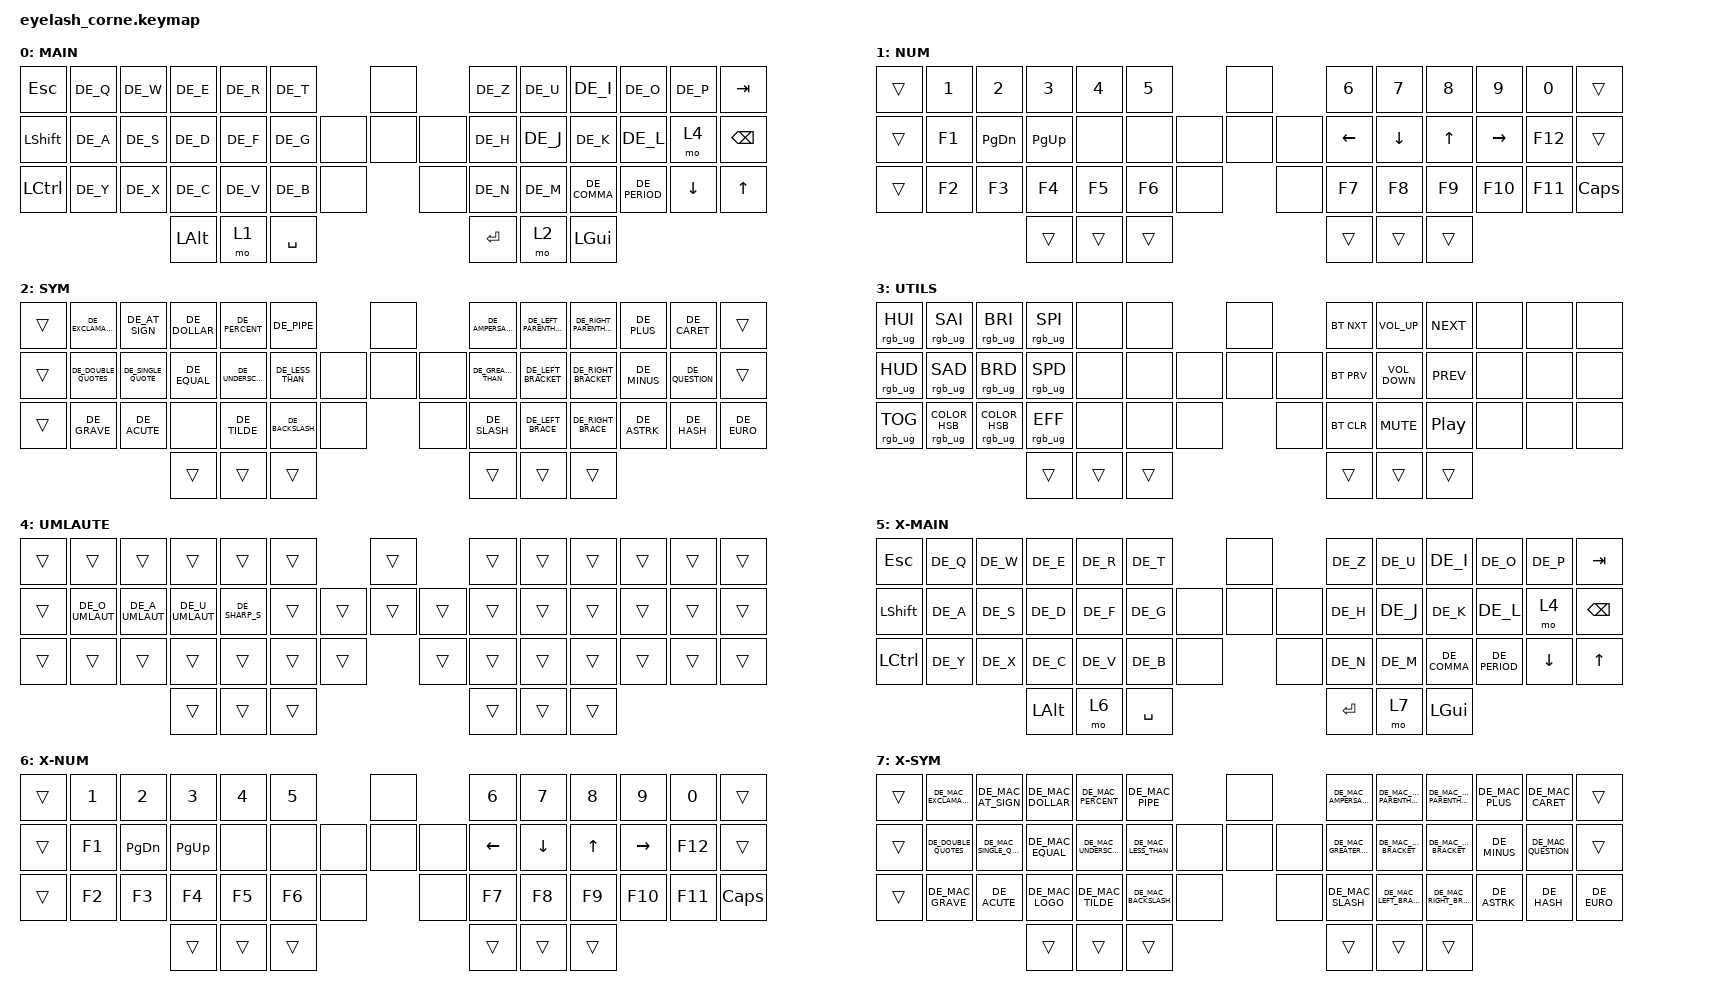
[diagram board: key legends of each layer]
#define ZMK_POINTING_DEFAULT_MOVE_VAL 1200  // 600
#define ZMK_POINTING_DEFAULT_SCRL_VAL 25   // 10

#include <input/processors.dtsi>
#include <zephyr/dt-bindings/input/input-event-codes.h>
#include <behaviors.dtsi>
#include <dt-bindings/zmk/bt.h>
#include <dt-bindings/zmk/keys.h>
#include <dt-bindings/zmk/pointing.h>
#include <dt-bindings/zmk/rgb.h>

// https://github.com/nickcoutsos/keymap-editor/wiki/Keycodes-for-other-locales

#include "keys_de.h"

&mmv_input_listener { input-processors = <&zip_xy_scaler 2 1>; };

&msc_input_listener { input-processors = <&zip_scroll_scaler 2 1>; };

&msc {
    acceleration-exponent = <1>;      // 0
    time-to-max-speed-ms = <100>;       // 300
    delay-ms = <0>;                   // 0
};

&mmv {
    time-to-max-speed-ms = <500>;
    acceleration-exponent = <1>;
    trigger-period-ms = <16>;
};

&soft_off { hold-time-ms = <2000>; };

/ {
    behaviors {
        td0: td0 {
            compatible = "zmk,behavior-tap-dance";
            display-name = "Shift/Caps Lock Tap Dance";
            #binding-cells = <0>;
            bindings = <&kp LEFT_SHIFT>, <&kp CAPS>;
        };

        gt_sign: gt_sign {
            compatible = "zmk,behavior-mod-morph";
            label = "GT_SIGN";
            bindings = <&kp DE_LESS_THAN>, <&kp DE_GREATER_THAN>;

            #binding-cells = <0>;
            mods = <(MOD_LSFT|MOD_RSFT)>;
        };
    };

    rgb_encoder: rgb_encoder {
        compatible = "zmk,behavior-sensor-rotate";
        #sensor-binding-cells = <0>;
        bindings = <&rgb_ug RGB_BRI>, <&rgb_ug RGB_BRD>;
    };

    scroll_encoder: scroll_encoder {
        compatible = "zmk,behavior-sensor-rotate";
        #sensor-binding-cells = <0>;
        bindings = <&msc SCRL_DOWN>, <&msc SCRL_UP>;

        tap-ms = <100>;
    };

    combos {
        compatible = "zmk,combos";

        softoff {
            bindings = <&soft_off>;
            key-positions = <1 15 29>;
        };

        RIGHT_CTRL_HR {
            bindings = <&kp RIGHT_CONTROL>;
            key-positions = <23 24>;
        };

        LEFT_CTRL_HR {
            bindings = <&kp LEFT_CONTROL>;
            key-positions = <17 16>;
        };

        MOVE_LAYER_3 {
            bindings = <&mo 3>;
            key-positions = <43 46>;
        };

        SWITCH_TO_MAC {
            bindings = <&to 5>;
            key-positions = <0 13 28>;
            layers = <0>;
        };

        SWITCH_TO_DEFAULT {
            bindings = <&to 0>;
            key-positions = <0 13 28>;
        };
    };

    keymap {
        compatible = "zmk,keymap";

        default_layer {
            display-name = "MAIN";
            bindings = <
&kp ESCAPE        &kp DE_Q  &kp DE_W  &kp DE_E      &kp DE_R  &kp DE_T                   &none         &kp DE_Z   &kp DE_U  &kp DE_I      &kp DE_O       &kp DE_P  &kp TAB
&kp LSHIFT        &kp DE_A  &kp DE_S  &kp DE_D      &kp DE_F  &kp DE_G            &none  &none  &none  &kp DE_H   &kp DE_J  &kp DE_K      &kp DE_L       &mo 4     &kp BACKSPACE
&kp LEFT_CONTROL  &kp DE_Y  &kp DE_X  &kp DE_C      &kp DE_V  &kp DE_B   &none           &none         &kp DE_N   &kp DE_M  &kp DE_COMMA  &kp DE_PERIOD  &kp DOWN  &kp UP
                                      &kp LEFT_ALT  &mo 1     &kp SPACE                                &kp ENTER  &mo 2     &kp LGUI
            >;
        };

        NUM {
            display-name = "NUM";
            bindings = <
&trans  &kp N1  &kp N2         &kp N3       &kp N4  &kp N5                  &none         &kp N6    &kp N7    &kp N8  &kp N9     &kp N0   &trans
&trans  &kp F1  &kp PAGE_DOWN  &kp PAGE_UP  &none   &none            &none  &none  &none  &kp LEFT  &kp DOWN  &kp UP  &kp RIGHT  &kp F12  &trans
&trans  &kp F2  &kp F3         &kp F4       &kp F5  &kp F6  &none           &none         &kp F7    &kp F8    &kp F9  &kp F10    &kp F11  &kp CAPSLOCK
                               &trans       &trans  &trans                                &trans    &trans    &trans
            >;
        };

        SYM {
            display-name = "SYM";
            bindings = <
&trans  &kp DE_EXCLAMATION    &kp DE_AT_SIGN       &kp DE_DOLLAR  &kp DE_PERCENT     &kp DE_PIPE                       &none         &kp DE_AMPERSAND     &kp DE_LEFT_PARENTHESIS  &kp DE_RIGHT_PARENTHESIS  &kp DE_PLUS   &kp DE_CARET     &trans
&trans  &kp DE_DOUBLE_QUOTES  &kp DE_SINGLE_QUOTE  &kp DE_EQUAL   &kp DE_UNDERSCORE  &kp DE_LESS_THAN           &none  &none  &none  &kp DE_GREATER_THAN  &kp DE_LEFT_BRACKET      &kp DE_RIGHT_BRACKET      &kp DE_MINUS  &kp DE_QUESTION  &trans
&trans  &kp DE_GRAVE          &kp DE_ACUTE         &none          &kp DE_TILDE       &kp DE_BACKSLASH  &none           &none         &kp DE_SLASH         &kp DE_LEFT_BRACE        &kp DE_RIGHT_BRACE        &kp DE_ASTRK  &kp DE_HASH      &kp DE_EURO
                                                   &trans         &trans             &trans                                          &trans               &trans                   &trans
            >;
        };

        CONTROL_LAYER {
            display-name = "UTILS";
            bindings = <
&rgb_ug RGB_HUI  &rgb_ug RGB_SAI                   &rgb_ug RGB_BRI                  &rgb_ug RGB_SPI  &none   &none                   &none         &bt BT_NXT  &kp C_VOLUME_UP    &kp C_NEXT        &none  &none  &none
&rgb_ug RGB_HUD  &rgb_ug RGB_SAD                   &rgb_ug RGB_BRD                  &rgb_ug RGB_SPD  &none   &none            &none  &none  &none  &bt BT_PRV  &kp C_VOLUME_DOWN  &kp C_PREV        &none  &none  &none
&rgb_ug RGB_TOG  &rgb_ug RGB_COLOR_HSB(309,49,59)  &rgb_ug RGB_COLOR_HSB(59,86,63)  &rgb_ug RGB_EFF  &none   &none   &none           &none         &bt BT_CLR  &kp C_MUTE         &kp C_PLAY_PAUSE  &none  &none  &none
                                                                                    &trans           &trans  &trans                                &trans      &trans             &trans
            >;
        };

        UMLAUTE {
            display-name = "UMLAUTE";
            bindings = <
&trans  &trans           &trans           &trans           &trans          &trans                    &trans          &trans  &trans  &trans  &trans  &trans  &trans
&trans  &kp DE_O_UMLAUT  &kp DE_A_UMLAUT  &kp DE_U_UMLAUT  &kp DE_SHARP_S  &trans            &trans  &trans  &trans  &trans  &trans  &trans  &trans  &trans  &trans
&trans  &trans           &trans           &trans           &trans          &trans  &trans            &trans          &trans  &trans  &trans  &trans  &trans  &trans
                                          &trans           &trans          &trans                                    &trans  &trans  &trans
            >;
        };

        XMAIN {
            display-name = "X-MAIN";
            bindings = <
&kp ESCAPE        &kp DE_Q  &kp DE_W  &kp DE_E      &kp DE_R  &kp DE_T                   &none         &kp DE_Z   &kp DE_U  &kp DE_I      &kp DE_O       &kp DE_P  &kp TAB
&kp LSHIFT        &kp DE_A  &kp DE_S  &kp DE_D      &kp DE_F  &kp DE_G            &none  &none  &none  &kp DE_H   &kp DE_J  &kp DE_K      &kp DE_L       &mo 4     &kp BACKSPACE
&kp LEFT_CONTROL  &kp DE_Y  &kp DE_X  &kp DE_C      &kp DE_V  &kp DE_B   &none           &none         &kp DE_N   &kp DE_M  &kp DE_COMMA  &kp DE_PERIOD  &kp DOWN  &kp UP
                                      &kp LEFT_ALT  &mo 6     &kp SPACE                                &kp ENTER  &mo 7     &kp LGUI
            >;
        };

        XNUM {
            display-name = "X-NUM";
            bindings = <
&trans  &kp N1  &kp N2         &kp N3       &kp N4  &kp N5                  &none         &kp N6    &kp N7    &kp N8  &kp N9     &kp N0   &trans
&trans  &kp F1  &kp PAGE_DOWN  &kp PAGE_UP  &none   &none            &none  &none  &none  &kp LEFT  &kp DOWN  &kp UP  &kp RIGHT  &kp F12  &trans
&trans  &kp F2  &kp F3         &kp F4       &kp F5  &kp F6  &none           &none         &kp F7    &kp F8    &kp F9  &kp F10    &kp F11  &kp CAPSLOCK
                               &trans       &trans  &trans                                &trans    &trans    &trans
            >;
        };

        XSYM {
            display-name = "X-SYM";
            bindings = <
&trans  &kp DE_MAC_EXCLAMATION  &kp DE_MAC_AT_SIGN       &kp DE_MAC_DOLLAR  &kp DE_MAC_PERCENT     &kp DE_MAC_PIPE                       &none         &kp DE_MAC_AMPERSAND     &kp DE_MAC_LEFT_PARENTHESIS  &kp DE_MAC_RIGHT_PARENTHESIS  &kp DE_MAC_PLUS  &kp DE_MAC_CARET     &trans
&trans  &kp DE_DOUBLE_QUOTES    &kp DE_MAC_SINGLE_QUOTE  &kp DE_MAC_EQUAL   &kp DE_MAC_UNDERSCORE  &kp DE_MAC_LESS_THAN           &none  &none  &none  &kp DE_MAC_GREATER_THAN  &kp DE_MAC_LEFT_BRACKET      &kp DE_MAC_RIGHT_BRACKET      &kp DE_MINUS     &kp DE_MAC_QUESTION  &trans
&trans  &kp DE_MAC_GRAVE        &kp DE_ACUTE             &kp DE_MAC_LOGO    &kp DE_MAC_TILDE       &kp DE_MAC_BACKSLASH  &none           &none         &kp DE_MAC_SLASH         &kp DE_MAC_LEFT_BRACE        &kp DE_MAC_RIGHT_BRACE        &kp DE_ASTRK     &kp DE_HASH          &kp DE_EURO
                                                         &trans             &trans                 &trans                                              &trans                   &trans                       &trans
            >;
        };
    };
};
